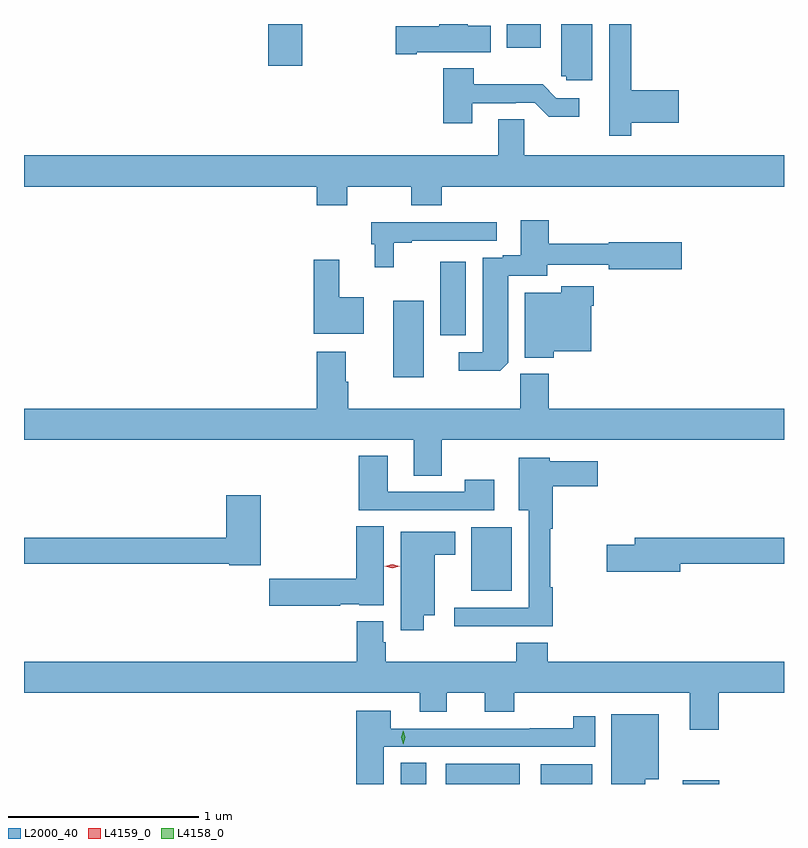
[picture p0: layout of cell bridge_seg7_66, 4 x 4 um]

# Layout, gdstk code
import gdstk
lib = gdstk.Library(unit=1e-6, precision=1e-09)
def R(c, l, rs):  # rectangles x0, y0, x1, y1
    for r in rs: c.add(gdstk.rectangle(r[:2], r[2:], *l))
def P(c, l, *ps):  # polygons
    for p in ps: c.add(gdstk.Polygon(p, *l))
L2000_40 = (2000, 40)
L4158_0 = (4158, 0)
L4159_0 = (4159, 0)

bridge_seg7_66 = lib.new_cell('bridge_seg7_66')
R(bridge_seg7_66, L2000_40, [(965.894,1009.46,966.028,1009.571), (966.132,1009.46,966.52,1009.567), (966.632,1009.46,966.904,1009.564), (967.379,1009.46,967.57,1009.48), (966.266,1010.477,966.478,1010.812), (965.855,1011.6,966.016,1012.003), (966.104,1011.822,966.238,1012.21), (965.198,1013.241,965.376,1013.46), (966.453,1013.336,966.631,1013.46)])
P(bridge_seg7_66, L2000_40, [(965.98,1013.312),(966.368,1013.312),(966.368,1013.45),(966.247,1013.45),(966.247,1013.46),(966.098,1013.46),(966.098,1013.447),(965.868,1013.447),(965.868,1013.3),(965.98,1013.3)],
  [(966.904,1013.46),(966.74,1013.46),(966.74,1013.184),(966.765,1013.184),(966.765,1013.163),(966.904,1013.163)],
  [(967.109,1012.94),(967.357,1012.94),(967.357,1013.111),(967.109,1013.111),(967.109,1013.46),(966.993,1013.46),(966.993,1013.094),(966.992,1013.094),(966.992,1012.872),(967.109,1012.872)],
  [(966.271,1013.043),(966.5,1013.043),(966.5,1013.046),(966.6,1013.046),(966.673,1012.973),(966.835,1012.973),(966.835,1013.07),(966.714,1013.07),(966.641,1013.143),(966.279,1013.143),(966.279,1013.227),(966.119,1013.227),(966.119,1012.938),(966.271,1012.938)],
  [(965.613,1012.604),(965.95,1012.604),(965.95,1012.505),(966.11,1012.505),(966.11,1012.604),(967.912,1012.604),(967.912,1012.768),(966.546,1012.768),(966.546,1012.958),(966.407,1012.958),(966.407,1012.768),(963.912,1012.768),(963.912,1012.604),(965.453,1012.604),(965.453,1012.505),(965.613,1012.505)],
  [(966.46,1011.676),(966.46,1012.134),(966.667,1012.134),(966.667,1012.194),(966.99,1012.194),(966.99,1012.169),(967.375,1012.169),(967.375,1012.311),(966.99,1012.311),(966.99,1012.303),(966.675,1012.303),(966.675,1012.426),(966.527,1012.426),(966.527,1012.243),(966.431,1012.243),(966.431,1012.23),(966.326,1012.23),(966.326,1011.732),(966.201,1011.732),(966.201,1011.635),(966.418,1011.635)],
  [(965.859,1012.308),(965.953,1012.308),(965.953,1012.32),(966.4,1012.32),(966.4,1012.416),(965.74,1012.416),(965.74,1012.302),(965.759,1012.302),(965.759,1012.179),(965.859,1012.179)],
  [(965.701,1012.021),(965.572,1012.021),(965.572,1012.219),(965.438,1012.219),(965.438,1011.83),(965.701,1011.83)],
  [(966.701,1011.737),(966.898,1011.737),(966.898,1011.977),(966.911,1011.977),(966.911,1012.081),(966.74,1012.081),(966.74,1012.045),(966.548,1012.045),(966.548,1011.704),(966.701,1011.704)],
  [(966.111,1011.272),(967.912,1011.272),(967.912,1011.436),(966.674,1011.436),(966.674,1011.618),(966.523,1011.618),(966.523,1011.436),(965.618,1011.436),(965.618,1011.578),(965.605,1011.578),(965.605,1011.736),(965.453,1011.736),(965.453,1011.436),(963.912,1011.436),(963.912,1011.272),(965.963,1011.272),(965.963,1011.082),(966.111,1011.082)],
  [(966.388,1011.061),(966.232,1011.061),(966.232,1010.997),(965.827,1010.997),(965.827,1011.187),(965.675,1011.187),(965.675,1010.901),(966.388,1010.901)],
  [(966.695,1010.495),(966.682,1010.495),(966.682,1010.804),(966.695,1010.804),(966.695,1011.026),(966.931,1011.026),(966.931,1011.16),(966.678,1011.16),(966.678,1011.178),(966.515,1011.178),(966.515,1010.9),(966.569,1010.9),(966.569,1010.388),(966.177,1010.388),(966.177,1010.291),(966.695,1010.291)],
  [(965.159,1010.98),(964.976,1010.98),(964.976,1010.756),(963.912,1010.756),(963.912,1010.62),(964.992,1010.62),(964.992,1010.612),(965.159,1010.612)],
  [(965.576,1010.405),(965.676,1010.405),(965.676,1010.402),(965.806,1010.402),(965.806,1010.816),(965.66,1010.816),(965.66,1010.54),(965.202,1010.54),(965.202,1010.398),(965.576,1010.398)],
  [(966.016,1010.348),(966.073,1010.348),(966.073,1010.666),(966.181,1010.666),(966.181,1010.788),(965.894,1010.788),(965.894,1010.268),(966.016,1010.268)],
  [(967.366,1010.62),(967.912,1010.62),(967.912,1010.756),(967.127,1010.756),(967.127,1010.72),(966.978,1010.72),(966.978,1010.578),(967.366,1010.578)],
  [(967.568,1009.94),(967.912,1009.94),(967.912,1010.104),(966.668,1010.104),(966.668,1010.203),(966.503,1010.203),(966.503,1010.104),(965.816,1010.104),(965.816,1010.205),(965.803,1010.205),(965.803,1010.317),(965.663,1010.317),(965.663,1010.104),(963.912,1010.104),(963.912,1009.94),(965.996,1009.94),(965.996,1009.841),(966.136,1009.841),(966.136,1009.94),(966.338,1009.94),(966.338,1009.841),(966.491,1009.841),(966.491,1009.94),(967.415,1009.94),(967.415,1009.746),(967.568,1009.746)],
  [(965.806,1009.656),(966.919,1009.656),(966.919,1009.816),(966.802,1009.816),(966.802,1009.754),(966.574,1009.754),(966.574,1009.752),(965.842,1009.752),(965.842,1009.846),(965.66,1009.846),(965.66,1009.46),(965.806,1009.46)],
  [(967.183,1009.484),(967.252,1009.484),(967.252,1009.828),(967.004,1009.828),(967.004,1009.46),(967.183,1009.46)])
P(bridge_seg7_66, L4158_0, [(965.907,1009.669),(965.898,1009.705),(965.908,1009.741),(965.909,1009.741),(965.909,1009.741),(965.918,1009.705),(965.908,1009.669),(965.908,1009.669)])
P(bridge_seg7_66, L4159_0, [(965.85,1010.596),(965.811,1010.607),(965.811,1010.607),(965.811,1010.607),(965.85,1010.616),(965.89,1010.606),(965.89,1010.606),(965.89,1010.606)])

lib.write_gds('bridge_seg7_66.gds')
